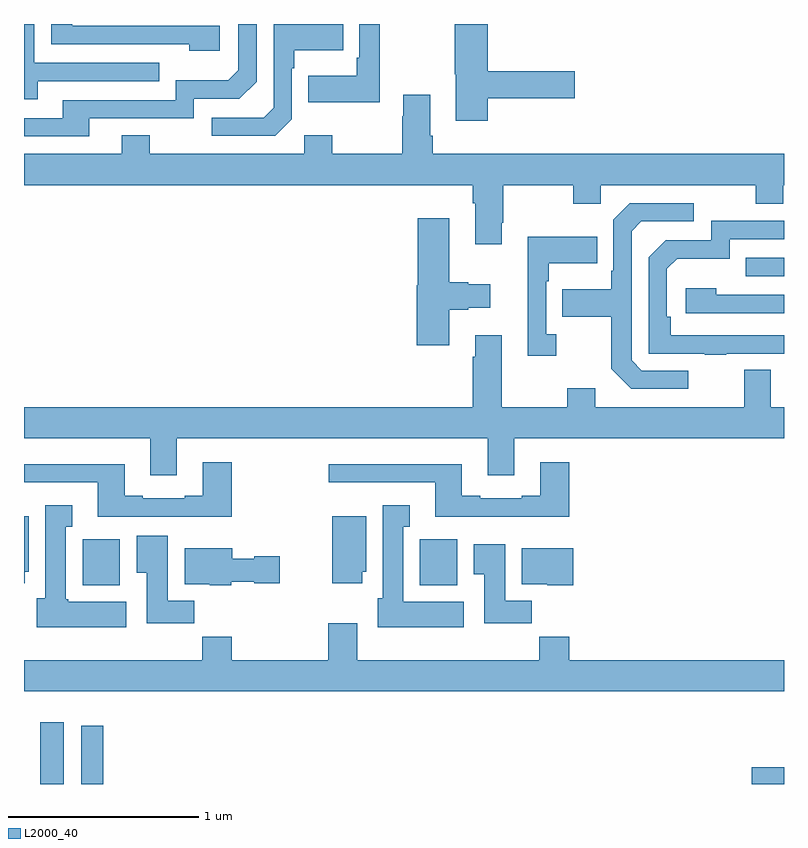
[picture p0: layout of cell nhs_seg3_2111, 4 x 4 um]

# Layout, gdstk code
import gdstk
lib = gdstk.Library(unit=1e-6, precision=1e-09)
def R(c, l, rs):  # rectangles x0, y0, x1, y1
    for r in rs: c.add(gdstk.rectangle(r[:2], r[2:], *l))
def P(c, l, *ps):  # polygons
    for p in ps: c.add(gdstk.Polygon(p, *l))
L2000_40 = (2000, 40)

nhs_seg3_2111 = lib.new_cell('nhs_seg3_2111')
R(nhs_seg3_2111, L2000_40, [(219.086,728.4,219.208,728.725), (219.3,728.4,219.416,728.707), (222.83,728.4,223,728.488), (219.308,729.446,219.505,729.688), (221.084,729.446,221.281,729.688), (222.799,731.073,223,731.169)])
P(nhs_seg3_2111, L2000_40, [(221.441,732.01),(221.899,732.01),(221.899,732.152),(221.441,732.152),(221.441,732.4),(221.266,732.4),(221.266,732.135),(221.273,732.135),(221.273,731.892),(221.441,731.892)],
  [(219.073,732.099),(219.713,732.099),(219.713,732.195),(219.054,732.195),(219.054,732.4),(219,732.4),(219,732.005),(219.073,732.005)],
  [(220.41,731.898),(220.41,732.167),(220.423,732.167),(220.423,732.263),(220.679,732.263),(220.679,732.4),(220.314,732.4),(220.314,731.958),(220.263,731.907),(219.987,731.907),(219.987,731.811),(220.323,731.811)],
  [(220.873,732.4),(220.764,732.4),(220.764,732.223),(220.752,732.223),(220.752,732.127),(220.495,732.127),(220.495,731.987),(220.873,731.987)],
  [(219.343,731.904),(219.894,731.904),(219.894,732.006),(220.134,732.006),(220.224,732.096),(220.224,732.4),(220.128,732.4),(220.128,732.156),(220.075,732.103),(219.798,732.103),(219.798,732),(219.203,732),(219.203,731.904),(219,731.904),(219,731.808),(219.343,731.808)],
  [(220.03,732.39),(219.253,732.39),(219.253,732.4),(219.144,732.4),(219.144,732.294),(219.869,732.294),(219.869,732.26),(220.03,732.26)],
  [(221.515,731.353),(221.523,731.353),(221.523,731.552),(221.89,731.552),(221.89,731.453),(222.036,731.453),(222.036,731.552),(222.85,731.552),(222.85,731.453),(222.997,731.453),(222.997,731.552),(223,731.552),(223,731.716),(221.15,731.716),(221.15,731.812),(221.137,731.812),(221.137,732.028),(220.997,732.028),(220.997,731.915),(220.99,731.915),(220.99,731.716),(220.623,731.716),(220.623,731.815),(220.476,731.815),(220.476,731.716),(219.663,731.716),(219.663,731.815),(219.515,731.815),(219.515,731.716),(219,731.716),(219,731.552),(221.363,731.552),(221.363,731.456),(221.375,731.456),(221.375,731.241),(221.515,731.241)],
  [(222.496,730.575),(222.252,730.575),(222.198,730.629),(222.198,731.31),(222.249,731.361),(222.526,731.361),(222.526,731.457),(222.189,731.457),(222.102,731.37),(222.102,731.101),(222.09,731.101),(222.09,731.005),(221.833,731.005),(221.833,730.858),(222.09,730.858),(222.09,730.585),(222.195,730.479),(222.496,730.479)],
  [(221.239,730.895),(221.339,730.895),(221.339,730.907),(221.455,730.907),(221.455,731.029),(221.339,731.029),(221.339,731.042),(221.239,731.042),(221.239,731.377),(221.072,731.377),(221.072,731.025),(221.066,731.025),(221.066,730.71),(221.239,730.71)],
  [(222.695,730.665),(223,730.665),(223,730.761),(222.404,730.761),(222.404,730.858),(222.384,730.858),(222.384,731.112),(222.437,731.165),(222.714,731.165),(222.714,731.268),(223,731.268),(223,731.364),(222.618,731.364),(222.618,731.262),(222.378,731.262),(222.288,731.172),(222.288,730.665),(222.583,730.665),(222.583,730.66),(222.695,730.66)],
  [(221.8,730.766),(221.748,730.766),(221.748,731.045),(221.761,731.045),(221.761,731.141),(222.017,731.141),(222.017,731.281),(221.651,731.281),(221.651,730.653),(221.8,730.653)],
  [(223,730.974),(222.644,730.974),(222.644,731.008),(222.483,731.008),(222.483,730.878),(223,730.878)],
  [(219.805,730.22),(221.441,730.22),(221.441,730.026),(221.581,730.026),(221.581,730.22),(223,730.22),(223,730.384),(222.931,730.384),(222.931,730.579),(222.791,730.579),(222.791,730.384),(222.007,730.384),(222.007,730.483),(221.86,730.483),(221.86,730.384),(221.515,730.384),(221.515,730.762),(221.375,730.762),(221.375,730.649),(221.363,730.649),(221.363,730.384),(219,730.384),(219,730.22),(219.665,730.22),(219.665,730.026),(219.805,730.026)],
  [(220.094,730.093),(219.941,730.093),(219.941,729.916),(219.845,729.916),(219.845,729.903),(219.625,729.903),(219.625,729.916),(219.529,729.916),(219.529,730.084),(219,730.084),(219,729.987),(219.389,729.987),(219.389,729.807),(219.853,729.807),(219.853,729.806),(220.094,729.806)],
  [(221.87,730.093),(221.717,730.093),(221.717,729.916),(221.621,729.916),(221.621,729.903),(221.401,729.903),(221.401,729.916),(221.305,729.916),(221.305,730.084),(220.605,730.084),(220.605,729.987),(221.165,729.987),(221.165,729.806),(221.87,729.806)],
  [(219.538,729.358),(219.234,729.358),(219.234,729.372),(219.22,729.372),(219.22,729.755),(219.253,729.755),(219.253,729.868),(219.113,729.868),(219.113,729.378),(219.068,729.378),(219.068,729.224),(219.538,729.224)],
  [(221.314,729.358),(220.996,729.358),(220.996,729.755),(221.029,729.755),(221.029,729.868),(220.889,729.868),(220.889,729.378),(220.862,729.378),(220.862,729.224),(221.314,729.224)],
  [(220.78,729.516),(220.801,729.516),(220.801,729.808),(220.622,729.808),(220.622,729.456),(220.78,729.456)],
  [(219.004,729.516),(219.025,729.516),(219.025,729.808),(219,729.808),(219,729.456),(219.004,729.456)],
  [(219.896,729.364),(219.757,729.364),(219.757,729.706),(219.593,729.706),(219.593,729.512),(219.647,729.512),(219.647,729.246),(219.896,729.246)],
  [(221.672,729.364),(221.533,729.364),(221.533,729.661),(221.366,729.661),(221.366,729.505),(221.423,729.505),(221.423,729.246),(221.672,729.246)],
  [(220.092,729.464),(220.212,729.464),(220.212,729.457),(220.345,729.457),(220.345,729.599),(220.212,729.599),(220.212,729.586),(220.096,729.586),(220.096,729.64),(219.845,729.64),(219.845,729.452),(219.978,729.452),(219.978,729.446),(220.092,729.446)],
  [(221.89,729.64),(221.621,729.64),(221.621,729.452),(221.754,729.452),(221.754,729.446),(221.89,729.446)],
  [(223,729.052),(221.87,729.052),(221.87,729.176),(221.713,729.176),(221.713,729.052),(220.753,729.052),(220.753,729.247),(220.601,729.247),(220.601,729.052),(220.094,729.052),(220.094,729.176),(219.937,729.176),(219.937,729.052),(219,729.052),(219,728.888),(223,728.888)])

lib.write_gds('nhs_seg3_2111.gds')
